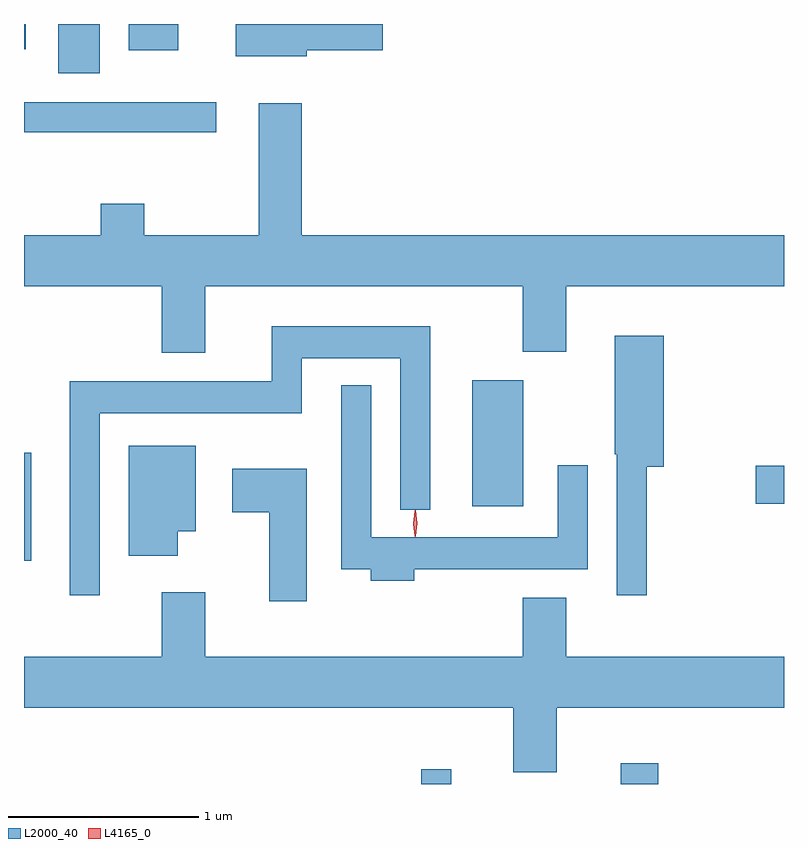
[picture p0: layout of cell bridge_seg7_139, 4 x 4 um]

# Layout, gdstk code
import gdstk
lib = gdstk.Library(unit=1e-6, precision=1e-09)
def R(c, l, rs):  # rectangles x0, y0, x1, y1
    for r in rs: c.add(gdstk.rectangle(r[:2], r[2:], *l))
def P(c, l, *ps):  # polygons
    for p in ps: c.add(gdstk.Polygon(p, *l))
L2000_40 = (2000, 40)
L4165_0 = (4165, 0)

bridge_seg7_139 = lib.new_cell('bridge_seg7_139')
R(bridge_seg7_139, L2000_40, [(1478.906,1707.255,1479.064,1707.333), (1479.956,1707.255,1480.154,1707.364), (1476.816,1708.431,1476.854,1708.999), (1479.176,1708.716,1479.444,1709.379), (1480.666,1708.731,1480.816,1708.929), (1476.816,1710.686,1477.828,1710.844), (1476.996,1710.996,1477.214,1711.255), (1477.366,1711.116,1477.629,1711.255), (1476.816,1711.121,1476.824,1711.255)])
P(bridge_seg7_139, L2000_40, [(1478.304,1711.116),(1478.704,1711.116),(1478.704,1711.255),(1477.931,1711.255),(1477.931,1711.086),(1478.304,1711.086)],
  [(1477.769,1709.876),(1479.441,1709.876),(1479.441,1709.531),(1479.669,1709.531),(1479.669,1709.876),(1480.816,1709.876),(1480.816,1710.144),(1478.279,1710.144),(1478.279,1710.839),(1478.051,1710.839),(1478.051,1710.144),(1477.449,1710.144),(1477.449,1710.309),(1477.221,1710.309),(1477.221,1710.144),(1476.816,1710.144),(1476.816,1709.876),(1477.541,1709.876),(1477.541,1709.526),(1477.769,1709.526)],
  [(1477.214,1709.206),(1478.279,1709.206),(1478.279,1709.496),(1478.796,1709.496),(1478.796,1708.698),(1478.954,1708.698),(1478.954,1709.664),(1478.121,1709.664),(1478.121,1709.374),(1477.056,1709.374),(1477.056,1708.248),(1477.214,1708.248)],
  [(1480.094,1708.926),(1480.184,1708.926),(1480.184,1709.614),(1479.926,1709.614),(1479.926,1708.99),(1479.936,1708.99),(1479.936,1708.248),(1480.094,1708.248)],
  [(1478.869,1708.386),(1479.784,1708.386),(1479.784,1708.933),(1479.626,1708.933),(1479.626,1708.554),(1478.644,1708.554),(1478.644,1709.353),(1478.486,1709.353),(1478.486,1708.386),(1478.641,1708.386),(1478.641,1708.326),(1478.869,1708.326)],
  [(1477.624,1708.586),(1477.719,1708.586),(1477.719,1709.034),(1477.366,1709.034),(1477.366,1708.456),(1477.624,1708.456)],
  [(1478.304,1708.914),(1477.911,1708.914),(1477.911,1708.686),(1478.106,1708.686),(1478.106,1708.216),(1478.304,1708.216)],
  [(1479.619,1707.656),(1480.816,1707.656),(1480.816,1707.924),(1479.669,1707.924),(1479.669,1708.234),(1479.441,1708.234),(1479.441,1707.924),(1477.769,1707.924),(1477.769,1708.264),(1477.541,1708.264),(1477.541,1707.924),(1476.816,1707.924),(1476.816,1707.656),(1479.391,1707.656),(1479.391,1707.316),(1479.619,1707.316)])
P(bridge_seg7_139, L4165_0, [(1478.876,1708.557),(1478.876,1708.558),(1478.866,1708.627),(1478.876,1708.696),(1478.876,1708.696),(1478.877,1708.696),(1478.886,1708.627),(1478.877,1708.558)],
  [(1478.874,1708.559),(1478.873,1708.56),(1478.864,1708.626),(1478.873,1708.692),(1478.874,1708.693),(1478.874,1708.692),(1478.884,1708.626),(1478.874,1708.56)])

lib.write_gds('bridge_seg7_139.gds')
